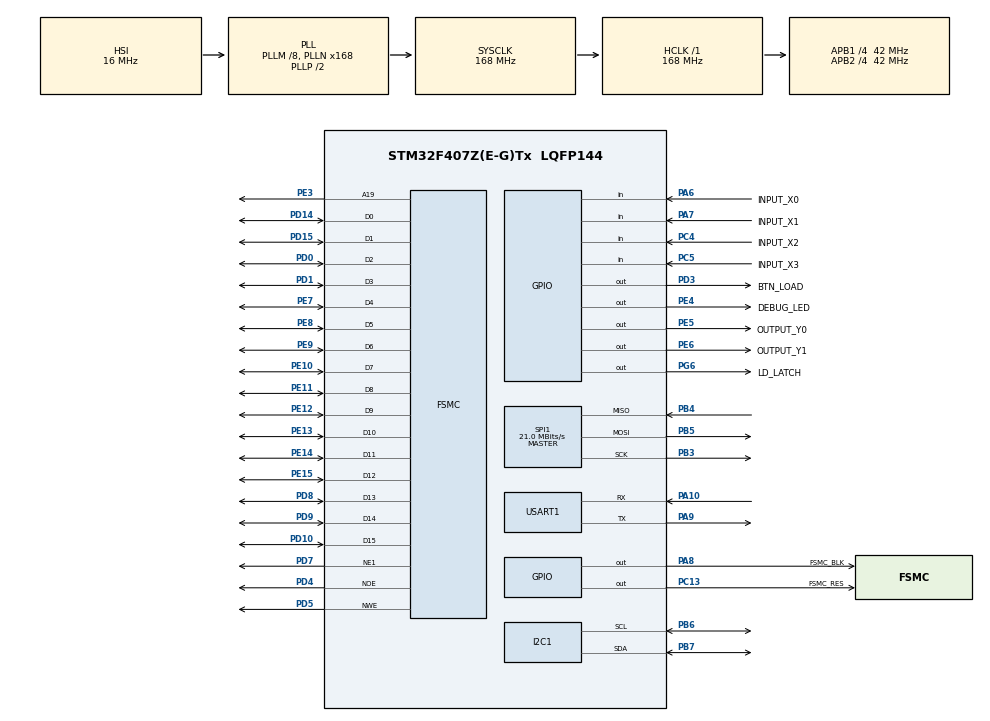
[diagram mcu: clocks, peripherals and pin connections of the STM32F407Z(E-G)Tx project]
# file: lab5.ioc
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FSMC.AddressSetupTime1=0xf
FSMC.BusTurnAroundDuration1=0
FSMC.DataSetupTime1=60
FSMC.ExtendedAddressSetupTime1=8
FSMC.ExtendedBusTurnAroundDuration1=0
FSMC.ExtendedDataSetupTime1=9
FSMC.ExtendedMode1=FSMC_EXTENDED_MODE_ENABLE
I2C1.I2C_Mode=I2C_Standard
Mcu.Family=STM32F4
Mcu.Name=STM32F407Z(E-G)Tx
Mcu.Package=LQFP144
NVIC.PriorityGroup=NVIC_PRIORITYGROUP_4
NVIC.TIM2_IRQn=true\:0\:0\:false\:false\:true\:true\:true\:true
NVIC.USART1_IRQn=true\:0\:0\:false\:false\:true\:true\:true\:true
PA10.Mode=Asynchronous
PA10.Signal=USART1_RX
PA13.Mode=Serial_Wire
PA13.Signal=SYS_JTMS-SWDIO
PA14.Mode=Serial_Wire
PA14.Signal=SYS_JTCK-SWCLK
PA6.GPIO_Label=INPUT_X0
PA6.Signal=GPIO_Input
PA7.GPIO_Label=INPUT_X1
PA7.Signal=GPIO_Input
PA8.GPIO_Label=FSMC_BLK
PA8.Signal=GPIO_Output
PA9.Mode=Asynchronous
PA9.Signal=USART1_TX
PB3.Mode=Full_Duplex_Master
PB3.Signal=SPI1_SCK
PB4.Mode=Full_Duplex_Master
PB4.Signal=SPI1_MISO
PB5.Mode=Full_Duplex_Master
PB5.Signal=SPI1_MOSI
PB6.Mode=I2C
PB6.Signal=I2C1_SCL
PB7.Mode=I2C
PB7.Signal=I2C1_SDA
PC13-ANTI_TAMP.GPIO_Label=FSMC_RES
PC13-ANTI_TAMP.Signal=GPIO_Output
PC4.GPIO_Label=INPUT_X2
PC4.Signal=GPIO_Input
PC5.GPIO_Label=INPUT_X3
PC5.Signal=GPIO_Input
PD0.Signal=FSMC_D2_DA2
PD1.Signal=FSMC_D3_DA3
PD10.Signal=FSMC_D15_DA15
PD14.Signal=FSMC_D0_DA0
PD15.Signal=FSMC_D1_DA1
PD3.GPIO_Label=BTN_LOAD
PD3.Signal=GPIO_Output
PD4.Signal=FSMC_NOE
PD5.Signal=FSMC_NWE
PD7.Mode=NorPsramChipSelect1_1
PD7.Signal=FSMC_NE1
PD8.Signal=FSMC_D13_DA13
PD9.Signal=FSMC_D14_DA14
PE10.Signal=FSMC_D7_DA7
PE11.Signal=FSMC_D8_DA8
PE12.Signal=FSMC_D9_DA9
PE13.Signal=FSMC_D10_DA10
PE14.Signal=FSMC_D11_DA11
PE15.Signal=FSMC_D12_DA12
PE3.Signal=FSMC_A19
PE4.GPIO_Label=DEBUG_LED
PE4.Signal=GPIO_Output
PE5.GPIO_Label=OUTPUT_Y0
PE5.Signal=GPIO_Output
PE6.GPIO_Label=OUTPUT_Y1
PE6.Signal=GPIO_Output
PE7.Signal=FSMC_D4_DA4
PE8.Signal=FSMC_D5_DA5
PE9.Signal=FSMC_D6_DA6
PG6.GPIO_Label=LD_LATCH
PG6.Signal=GPIO_Output
PH0-OSC_IN.Mode=HSE-External-Oscillator
PH0-OSC_IN.Signal=RCC_OSC_IN
PH1-OSC_OUT.Mode=HSE-External-Oscillator
PH1-OSC_OUT.Signal=RCC_OSC_OUT
ProjectManager.HeapSize=0x200
ProjectManager.StackSize=0x400
ProjectManager.TargetToolchain=STM32CubeIDE
RCC.48MHZClocksFreq_Value=84000000
RCC.AHBFreq_Value=168000000
RCC.APB1CLKDivider=RCC_HCLK_DIV4
RCC.APB1Freq_Value=42000000
RCC.APB1TimFreq_Value=84000000
RCC.APB2CLKDivider=RCC_HCLK_DIV4
RCC.APB2Freq_Value=42000000
RCC.APB2TimFreq_Value=84000000
RCC.CortexFreq_Value=168000000
RCC.HCLKFreq_Value=168000000
RCC.HSE_VALUE=8000000
RCC.HSI_VALUE=16000000
RCC.LSE_VALUE=32768
RCC.PLLM=8
RCC.PLLN=168
RCC.SYSCLKFreq_VALUE=168000000
RCC.SYSCLKSource=RCC_SYSCLKSOURCE_PLLCLK
RCC.VCOOutputFreq_Value=336000000
SH.FSMC_A19.0=FSMC_A19,A19_1
SH.FSMC_D0_DA0.0=FSMC_D0,16b-d1
SH.FSMC_D10_DA10.0=FSMC_D10,16b-d1
SH.FSMC_D11_DA11.0=FSMC_D11,16b-d1
SH.FSMC_D12_DA12.0=FSMC_D12,16b-d1
SH.FSMC_D13_DA13.0=FSMC_D13,16b-d1
SH.FSMC_D14_DA14.0=FSMC_D14,16b-d1
SH.FSMC_D15_DA15.0=FSMC_D15,16b-d1
SH.FSMC_D1_DA1.0=FSMC_D1,16b-d1
SH.FSMC_D2_DA2.0=FSMC_D2,16b-d1
SH.FSMC_D3_DA3.0=FSMC_D3,16b-d1
SH.FSMC_D4_DA4.0=FSMC_D4,16b-d1
SH.FSMC_D5_DA5.0=FSMC_D5,16b-d1
SH.FSMC_D6_DA6.0=FSMC_D6,16b-d1
SH.FSMC_D7_DA7.0=FSMC_D7,16b-d1
SH.FSMC_D8_DA8.0=FSMC_D8,16b-d1
SH.FSMC_D9_DA9.0=FSMC_D9,16b-d1
SH.FSMC_NOE.0=FSMC_NOE,Lcd1
SH.FSMC_NWE.0=FSMC_NWE,Lcd1
SPI1.BaudRatePrescaler=SPI_BAUDRATEPRESCALER_2
SPI1.CalculateBaudRate=21.0 MBits/s
SPI1.Direction=SPI_DIRECTION_2LINES
SPI1.Mode=SPI_MODE_MASTER
SPI1.VirtualType=VM_MASTER
TIM2.Period=100-1
TIM2.Prescaler=840-1
USART1.VirtualMode=VM_ASYNC
VP_TIM2_VS_ClockSourceINT.Mode=Internal
board=custom

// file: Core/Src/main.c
/* USER CODE BEGIN Header */
/**
  ******************************************************************************
  * @file           : main.c
  * @brief          : Main program body
  ******************************************************************************
  * @attention
  *
  * Copyright (c) 2024 STMicroelectronics.
  * All rights reserved.
  *
  * This software is licensed under terms that can be found in the LICENSE file
  * in the root directory of this software component.
  * If no LICENSE file comes with this software, it is provided AS-IS.
  *
  ******************************************************************************
  */
/* USER CODE END Header */
#include "main.h"
#include "i2c.h"
#include "spi.h"
#include "tim.h"
#include "usart.h"
#include "gpio.h"
#include "fsmc.h"

/* USER CODE BEGIN Includes */
#include "uart.h"
#include "software_timer.h"
#include "led_7seg.h"
#include "button.h"
#include "lcd.h"
#include "picture.h"
#include "ds3231.h"
#include "global.h"
#include "utils.h"

/* USER CODE END Includes */

/* USER CODE BEGIN PV */
uint16_t count_led_debug = 0;
/* USER CODE END PV */

void SystemClock_Config(void);
/* USER CODE BEGIN PFP */
void system_init();
void test_LedDebug();
void displayTime();
void updateTime();
void runSystem();
void test_Uart();
/* USER CODE END PFP */

int main(void)
{

  /* MCU Configuration--------------------------------------------------------*/

  /* Reset of all peripherals, Initializes the Flash interface and the Systick. */
  HAL_Init();

  /* Configure the system clock */
  SystemClock_Config();

  /* Initialize all configured peripherals */
  MX_GPIO_Init();
  MX_TIM2_Init();
  MX_SPI1_Init();
  MX_FSMC_Init();
  MX_I2C1_Init();
  MX_USART1_UART_Init();
  /* USER CODE BEGIN 2 */
  system_init();
  /* USER CODE END 2 */

  /* Infinite loop */
  /* USER CODE BEGIN WHILE */
  lcd_Clear(BLACK);
  updateTime();
  while (1)
  {
    /* USER CODE END WHILE */
	  while(!flag_timer2);
	  flag_timer2 = 0;
	  button_Scan();
	  ds3231_ReadTime();
	  test_Uart();
	  runSystem();
  }
}

void SystemClock_Config(void)
{
  RCC_OscInitTypeDef RCC_OscInitStruct = {0};
  RCC_ClkInitTypeDef RCC_ClkInitStruct = {0};

  /** Configure the main internal regulator output voltage
  */
  __HAL_RCC_PWR_CLK_ENABLE();
  __HAL_PWR_VOLTAGESCALING_CONFIG(PWR_REGULATOR_VOLTAGE_SCALE1);

  /** Initializes the RCC Oscillators according to the specified parameters
  * in the RCC_OscInitTypeDef structure.
  */
  RCC_OscInitStruct.OscillatorType = RCC_OSCILLATORTYPE_HSI;
  RCC_OscInitStruct.HSIState = RCC_HSI_ON;
  RCC_OscInitStruct.HSICalibrationValue = RCC_HSICALIBRATION_DEFAULT;
  RCC_OscInitStruct.PLL.PLLState = RCC_PLL_ON;
  RCC_OscInitStruct.PLL.PLLSource = RCC_PLLSOURCE_HSI;
  RCC_OscInitStruct.PLL.PLLM = 8;
  RCC_OscInitStruct.PLL.PLLN = 168;
  RCC_OscInitStruct.PLL.PLLP = RCC_PLLP_DIV2;
  RCC_OscInitStruct.PLL.PLLQ = 4;
  if (HAL_RCC_OscConfig(&RCC_OscInitStruct) != HAL_OK)
  {
    Error_Handler();
  }

  /** Initializes the CPU, AHB and APB buses clocks
  */
  RCC_ClkInitStruct.ClockType = RCC_CLOCKTYPE_HCLK|RCC_CLOCKTYPE_SYSCLK
                              |RCC_CLOCKTYPE_PCLK1|RCC_CLOCKTYPE_PCLK2;
  RCC_ClkInitStruct.SYSCLKSource = RCC_SYSCLKSOURCE_PLLCLK;
  RCC_ClkInitStruct.AHBCLKDivider = RCC_SYSCLK_DIV1;
  RCC_ClkInitStruct.APB1CLKDivider = RCC_HCLK_DIV4;
  RCC_ClkInitStruct.APB2CLKDivider = RCC_HCLK_DIV4;

  if (HAL_RCC_ClockConfig(&RCC_ClkInitStruct, FLASH_LATENCY_5) != HAL_OK)
  {
    Error_Handler();
  }
}

/* USER CODE BEGIN 4 */
void system_init(){
	  HAL_GPIO_WritePin(OUTPUT_Y0_GPIO_Port, OUTPUT_Y0_Pin, 0);
	  HAL_GPIO_WritePin(OUTPUT_Y1_GPIO_Port, OUTPUT_Y1_Pin, 0);
	  HAL_GPIO_WritePin(DEBUG_LED_GPIO_Port, DEBUG_LED_Pin, 0);

	  timer_init();
	  led7_init();
	  button_init();
	  lcd_init();
	  uart_init_rs232();
	  ds3231_init();
	  setTimer2(50);
}

void test_LedDebug(){
	count_led_debug = (count_led_debug + 1)%20;
	if(count_led_debug == 0){
		HAL_GPIO_TogglePin(DEBUG_LED_GPIO_Port, DEBUG_LED_Pin);
	}
}

void test_7seg(){
	led7_SetDigit(0, 0, 0);
	led7_SetDigit(5, 1, 0);
	led7_SetDigit(4, 2, 0);
	led7_SetDigit(7, 3, 0);
}
void test_button(){
	for(int i = 0; i < 16; i++){
		if(button_count[i] == 1){
			led7_SetDigit(i/10, 2, 0);
			led7_SetDigit(i%10, 3, 0);
		}
	}
}

void test_Uart(){
	if(button_count [13] == 1){
		uart_Rs232SendNum (ds3231_hours);
		uart_Rs232SendString (":");
		uart_Rs232SendNum ( ds3231_min );
		uart_Rs232SendString (":");
		uart_Rs232SendNum ( ds3231_sec );
		uart_Rs232SendString ("\n");
	}
}

void updateTime(){
	ds3231_Write(ADDRESS_YEAR, 24);
	ds3231_Write(ADDRESS_MONTH, 11);
	ds3231_Write(ADDRESS_DATE, 29);
	ds3231_Write(ADDRESS_DAY, 6);
	ds3231_Write(ADDRESS_HOUR, 9);
	ds3231_Write(ADDRESS_MIN, 10);
	ds3231_Write(ADDRESS_SEC, 00);
}

uint8_t isButtonUp()
{
    if (button_count[3] == 1)
        return 1;
    else
        return 0;
}
uint8_t isButtonDown()
{
    if (button_count[7] == 1)
        return 1;
    else
        return 0;
}
//uint8_t systemState = 0; // 0: INIT, 1: NORMAL, 2: MODIFY, 3: ALARM
//uint8_t modifyState = 0; // 0: modify HOUR; 1: modify MIN, 2: modify SEC
//uint8_t count_blink = 0;
//uint8_t blink_state = 0;
uint8_t temp_time;
void runSystem(){
	switch(systemState){
	case INIT:
		ds3231_Write(ADDRESS_YEAR, 24);
		ds3231_Write(ADDRESS_MONTH, 11);
		ds3231_Write(ADDRESS_DATE, 28);
		ds3231_Write(ADDRESS_DAY, 5);
		ds3231_Write(ADDRESS_HOUR, 10);
		ds3231_Write(ADDRESS_MIN, 47);
		ds3231_Write(ADDRESS_SEC, 50);
		systemState = NORMAL;
		lcd_Clear(BLACK);
		break;
	case NORMAL:
		ds3231_ReadTime();
		displayTime();
		if(button_count[0] == 1){
			systemState = MODIFY_HOUR;
			temp_time = ds3231_hours;
			lcd_Clear(BLACK);
		}
		if(ds3231_hours == alarm_hour && ds3231_min == alarm_min && set_alarm_flag == 1){
			if(ds3231_sec >= 0 && ds3231_sec <= 15){
				count_blink = count_blink + 1;
				if(count_blink % 10 == 0){
					if(blink_state == 0){
						lcd_Fill(20, 30, 150, 100, BLACK);
						blink_state = 1;
					}else{
						lcd_ShowStr(20, 30, "TIME UP!!!", WHITE, RED, 24, 0);
						blink_state = 0;
					}
				}
			}else{
				lcd_Fill(20, 30, 150, 100, BLACK);
				set_alarm_flag = 0;
			}
		}
		break;
	case MODIFY_HOUR:
		lcd_ShowStr(20, 30, "Modify HOUR", WHITE, BLUE, 24, 0);
		ds3231_Write(ADDRESS_SEC, ds3231_sec);
		count_blink = count_blink + 1;
		if(count_blink % 10 == 0){
			blink_state ^= 1;
		}
		if(blink_state == 0){
			lcd_ShowStr(70, 100, "  ", GREEN, BLACK, 24, 0);
		}else{
			lcd_ShowIntNum(70, 100, temp_time, 2, GREEN, BLACK, 24);
		}
		lcd_ShowIntNum(110, 100, ds3231_min, 2, GREEN, BLACK, 24);
		lcd_ShowIntNum(150, 100, ds3231_sec, 2, GREEN, BLACK, 24);
		lcd_ShowIntNum(20, 130, ds3231_day, 2, YELLOW, BLACK, 24);
		lcd_ShowIntNum(70, 130, ds3231_date, 2, YELLOW, BLACK, 24);
		lcd_ShowIntNum(110, 130, ds3231_month, 2, YELLOW, BLACK, 24);
		lcd_ShowIntNum(150, 130, ds3231_year, 2, YELLOW, BLACK, 24);
		if(isButtonUp()){
			temp_time++;
			if(temp_time >= 24){
				temp_time = 0;
			}
		}
		if(isButtonDown()){
			temp_time--;
			if(temp_time <= 0){
				temp_time = 0;
			}
		}
		if(button_count[3] >= 40 && count_blink % 4 == 0){
			temp_time++;
			if(temp_time >= 24){
				temp_time = 0;
			}
			blink_state = 1;
		}
		if(button_count[7] >= 40 && count_blink % 4 == 0){
			temp_time--;
			if(temp_time <= 0){
				temp_time = 0;
			}
			blink_state = 1;
		}

		if(button_count[12] == 1){
			ds3231_Write(ADDRESS_HOUR, temp_time);
			count_blink = 0;
			blink_state = 0;
			temp_time = ds3231_min;
			systemState = MODIFY_MIN;
			lcd_Clear(BLACK);
		}
		if(button_count[0] == 1){
			count_blink = 0;
			blink_state = 0;
			temp_time = ds3231_min;
			systemState = MODIFY_MIN;
			lcd_Clear(BLACK);
		}
		break;
	case MODIFY_MIN:
		lcd_ShowStr(20, 30, "Modify MIN", WHITE, BLUE, 24, 0);
		ds3231_Write(ADDRESS_SEC, ds3231_sec);
		count_blink = count_blink + 1;
		if(count_blink % 10 == 0){
			blink_state ^= 1;
		}
		if(blink_state == 0){
			lcd_ShowStr(110, 100, "  ", GREEN, BLACK, 24, 0);
		}else{
			lcd_ShowIntNum(110, 100, temp_time, 2, GREEN, BLACK, 24);
		}
		lcd_ShowIntNum(70, 100, ds3231_hours, 2, GREEN, BLACK, 24);
		lcd_ShowIntNum(150, 100, ds3231_sec, 2, GREEN, BLACK, 24);
		lcd_ShowIntNum(20, 130, ds3231_day, 2, YELLOW, BLACK, 24);
		lcd_ShowIntNum(70, 130, ds3231_date, 2, YELLOW, BLACK, 24);
		lcd_ShowIntNum(110, 130, ds3231_month, 2, YELLOW, BLACK, 24);
		lcd_ShowIntNum(150, 130, ds3231_year, 2, YELLOW, BLACK, 24);
		if(isButtonUp()){
			temp_time++;
			if(temp_time >= 60){
				temp_time = 0;
			}
		}
		if(isButtonDown()){
			temp_time--;
			if(temp_time <= 0){
				temp_time = 0;
			}
		}
		if(button_count[3] >= 40 && count_blink % 4 == 0){
			temp_time++;
			if(temp_time >= 60){
				temp_time = 0;
			}
			blink_state = 1;
		}
		if(button_count[7] >= 40 && count_blink % 4 == 0){
			temp_time--;
			if(temp_time <= 0){
				temp_time = 0;
			}
			blink_state = 1;
		}
		if(button_count[12] == 1){
			ds3231_Write(ADDRESS_MIN, temp_time);
			count_blink = 0;
			blink_state = 0;
			temp_time = ds3231_sec;
			systemState = MODIFY_SEC;
			lcd_Clear(BLACK);
		}
		if(button_count[0] == 1){
			count_blink = 0;
			blink_state = 0;
			temp_time = ds3231_sec;
			systemState = MODIFY_SEC;
			lcd_Clear(BLACK);
		}
		break;
	case MODIFY_SEC:
		lcd_ShowStr(20, 30, "Modify SEC", WHITE, BLUE, 24, 0);
		ds3231_Write(ADDRESS_SEC, ds3231_sec);
		count_blink = count_blink + 1;
		if(count_blink % 10 == 0){
			blink_state ^= 1;
		}
		if(blink_state == 0){
			lcd_ShowStr(150, 100, "  ", GREEN, BLACK, 24, 0);
		}else{
			lcd_ShowIntNum(150, 100, temp_time, 2, GREEN, BLACK, 24);
		}
		lcd_ShowIntNum(70, 100, ds3231_hours, 2, GREEN, BLACK, 24);
		lcd_ShowIntNum(110, 100, ds3231_min, 2, GREEN, BLACK, 24);
		lcd_ShowIntNum(20, 130, ds3231_day, 2, YELLOW, BLACK, 24);
		lcd_ShowIntNum(70, 130, ds3231_date, 2, YELLOW, BLACK, 24);
		lcd_ShowIntNum(110, 130, ds3231_month, 2, YELLOW, BLACK, 24);
		lcd_ShowIntNum(150, 130, ds3231_year, 2, YELLOW, BLACK, 24);
		if(isButtonUp()){
			temp_time++;
			if(temp_time >= 60){
				temp_time = 0;
			}
		}
		if(isButtonDown()){
			temp_time--;
			if(temp_time <= 0){
				temp_time = 0;
			}
		}
		if(button_count[3] >= 40 && count_blink % 4 == 0){
			temp_time++;
			if(temp_time >= 60){
				temp_time = 0;
			}
			blink_state = 1;
		}
		if(button_count[7] >= 40 && count_blink % 4 == 0){
			temp_time--;
			if(temp_time <= 0){
				temp_time = 0;
			}
			blink_state = 1;
		}
		if(button_count[12] == 1){
			ds3231_Write(ADDRESS_SEC, temp_time);
			count_blink = 0;
			blink_state = 0;
			temp_time = ds3231_hours;
			systemState = ALARM_HOUR;
			lcd_Clear(BLACK);
		}
		if(button_count[0] == 1){
			count_blink = 0;
			blink_state = 0;
			temp_time = ds3231_hours;
			systemState = ALARM_HOUR;
			lcd_Clear(BLACK);
		}
		break;
	case ALARM_HOUR:
		lcd_ShowStr(20, 30, "set Alarm - HOUR", WHITE, BLUE, 24, 0);
		ds3231_Write(ADDRESS_SEC, ds3231_sec);
		count_blink = count_blink + 1;
		if(count_blink % 10 == 0){
			blink_state ^= 1;
		}
		if(blink_state == 0){
			lcd_ShowStr(70, 100, "  ", GREEN, BLACK, 24, 0);
		}else{
			lcd_ShowIntNum(70, 100, temp_time, 2, GREEN, BLACK, 24);
		}
		lcd_ShowIntNum(110, 100, ds3231_min, 2, GREEN, BLACK, 24);
		lcd_ShowIntNum(150, 100, ds3231_sec, 2, GREEN, BLACK, 24);
		lcd_ShowIntNum(20, 130, ds3231_day, 2, YELLOW, BLACK, 24);
		lcd_ShowIntNum(70, 130, ds3231_date, 2, YELLOW, BLACK, 24);
		lcd_ShowIntNum(110, 130, ds3231_month, 2, YELLOW, BLACK, 24);
		lcd_ShowIntNum(150, 130, ds3231_year, 2, YELLOW, BLACK, 24);
		if(isButtonUp()){
			temp_time++;
			if(temp_time >= 24){
				temp_time = 0;
			}
		}
		if(isButtonDown()){
			temp_time--;
			if(temp_time <= 0){
				temp_time = 0;
			}
		}
		if(button_count[3] >= 40 && count_blink % 4 == 0){
			temp_time++;
			if(temp_time >= 24){
				temp_time = 0;
			}
			blink_state = 1;
		}
		if(button_count[7] >= 40 && count_blink % 4 == 0){
			temp_time--;
			if(temp_time <= 0){
				temp_time = 0;
			}
			blink_state = 1;
		}
		if(button_count[12] == 1){
			alarm_hour = temp_time;
			hour_alarm_flag = 1;
			count_blink = 0;
			blink_state = 0;
			temp_time = ds3231_min;
			systemState = ALARM_MIN;
			lcd_Clear(BLACK);
		}
		if(button_count[0] == 1){
			count_blink = 0;
			blink_state = 0;
			temp_time = ds3231_min;
			systemState = ALARM_MIN;
			lcd_Clear(BLACK);
		}
		break;
	case ALARM_MIN:
		lcd_ShowStr(20, 30, "set Alarm - MIN", WHITE, BLUE, 24, 0);
		ds3231_Write(ADDRESS_SEC, ds3231_sec);
		count_blink = count_blink + 1;
		if(count_blink % 10 == 0){
			blink_state ^= 1;
		}
		if(blink_state == 0){
			lcd_ShowStr(110, 100, "  ", GREEN, BLACK, 24, 0);
		}else{
			lcd_ShowIntNum(110, 100, temp_time, 2, GREEN, BLACK, 24);
		}
		lcd_ShowIntNum(70, 100, ds3231_hours, 2, GREEN, BLACK, 24);
		lcd_ShowIntNum(150, 100, ds3231_sec, 2, GREEN, BLACK, 24);
		lcd_ShowIntNum(20, 130, ds3231_day, 2, YELLOW, BLACK, 24);
		lcd_ShowIntNum(70, 130, ds3231_date, 2, YELLOW, BLACK, 24);
		lcd_ShowIntNum(110, 130, ds3231_month, 2, YELLOW, BLACK, 24);
		lcd_ShowIntNum(150, 130, ds3231_year, 2, YELLOW, BLACK, 24);
		if(isButtonUp()){
			temp_time++;
			if(temp_time >= 60){
				temp_time = 0;
			}
		}
		if(isButtonDown()){
			temp_time--;
			if(temp_time <= 0){
				temp_time = 0;
			}
		}
		if(button_count[3] >= 40 && count_blink % 4 == 0){
			temp_time++;
			if(temp_time >= 60){
				temp_time = 0;
			}
			blink_state = 1;
		}
		if(button_count[7] >= 40 && count_blink % 4 == 0){
			temp_time--;
			if(temp_time <= 0){
				temp_time = 0;
			}
			blink_state = 1;
		}
		if(button_count[12] == 1){
			alarm_min = temp_time;
			min_alarm_flag = 1;
			count_blink = 0;
			blink_state = 0;
			systemState = CHECK_ALARM;
			lcd_Clear(BLACK);
		}
		if(button_count[0] == 1){
			count_blink = 0;
			blink_state = 0;
			systemState = CHECK_ALARM;
			lcd_Clear(BLACK);
		}
		break;
	case CHECK_ALARM:
		count_blink = count_blink + 1;
		if(hour_alarm_flag == 1 && min_alarm_flag == 1){
			lcd_ShowStr(20, 30, "set Alarm Success", WHITE, BLUE, 24, 0);
			lcd_ShowStr(20, 60, "HOUR: ", WHITE, BLACK, 24, 0);
			lcd_ShowIntNum(100, 60, alarm_hour, 2, GREEN, BLACK, 24);
			lcd_ShowStr(20, 90, "MIN: ", WHITE, BLACK, 24, 0);
			lcd_ShowIntNum(100, 90, alarm_min, 2, GREEN, BLACK, 24);
			set_alarm_flag = 1;
		}else if(hour_alarm_flag == 0 && min_alarm_flag == 1){
			lcd_ShowStr(20, 30, "Not set alarm", WHITE, BLUE, 24, 0);
			lcd_ShowStr(22, 60, "hour yet", WHITE, BLUE, 24, 0);
		}else if(hour_alarm_flag == 1 && min_alarm_flag == 0){
			lcd_ShowStr(20, 30, "Not set alarm", WHITE, BLUE, 24, 0);
			lcd_ShowStr(22, 60, "min yet", WHITE, BLUE, 24, 0);
		}else{
			lcd_ShowStr(20, 30, "Not set alarm", WHITE, BLUE, 24, 0);
		}
		if(count_blink%60 == 0){
			hour_alarm_flag = 0;
			min_alarm_flag = 0;
			count_blink = 0;
			blink_state = 0;
			systemState = NORMAL;
			lcd_Clear(BLACK);
		}
	}

}
void displayTime(){
	lcd_ShowIntNum(70, 100, ds3231_hours, 2, GREEN, BLACK, 24);
	lcd_ShowIntNum(110, 100, ds3231_min, 2, GREEN, BLACK, 24);
	lcd_ShowIntNum(150, 100, ds3231_sec, 2, GREEN, BLACK, 24);
	lcd_ShowIntNum(20, 130, ds3231_day, 2, YELLOW, BLACK, 24);
	lcd_ShowIntNum(70, 130, ds3231_date, 2, YELLOW, BLACK, 24);
	lcd_ShowIntNum(110, 130, ds3231_month, 2, YELLOW, BLACK, 24);
	lcd_ShowIntNum(150, 130, ds3231_year, 2, YELLOW, BLACK, 24);
}
/* USER CODE END 4 */

void Error_Handler(void)
{
  __disable_irq();
  while (1)
  {
  }
}
